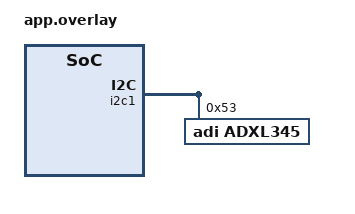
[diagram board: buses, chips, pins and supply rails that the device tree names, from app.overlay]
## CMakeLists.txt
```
# SPDX-License-Identifier: Apache-2.0

cmake_minimum_required(VERSION 3.20.0)

find_package(Zephyr REQUIRED HINTS $ENV{ZEPHYR_BASE})
project(kim_test2)
FILE(GLOB app_sources src/*.c)
target_include_directories(app PRIVATE
    ${ZEPHYR_BASE}/../modules/hal/stm32/cmsis
    ${ZEPHYR_BASE}/../modules/hal/stm32/cmsis/include
)
target_sources(app PRIVATE src/main.c)
```

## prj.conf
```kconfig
# nothing here

# 필요한 드라이버 활성화
CONFIG_STDOUT_CONSOLE=y
CONFIG_SENSOR=y
CONFIG_ADXL345=y
```

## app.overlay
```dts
&i2c1 {
    adxl345: adxl345@53 {
        compatible = "adi,adxl345";
        reg = <0x53>;
        status = "okay";
    };
};
```

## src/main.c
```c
#include <stdio.h>
#include <stdlib.h>

#include <zephyr/types.h>
#include <zephyr/kernel.h>
#include <zephyr/drivers/gpio.h>
#include <zephyr/logging/log.h>
#include <zephyr/drivers/sensor.h>

static const struct device *adxl345 = DEVICE_DT_GET(DT_NODELABEL(adxl345));

int main(void)
{
	static struct sensor_value accel_x, accel_y, accel_z;

	if (!device_is_ready(adxl345)) {
		printk("The ADXL345 sensor is not ready.");
		return 0;
	}
	printk("OK, sensor device is ready.\n");

	while (1) {
		sensor_sample_fetch_chan(adxl345, SENSOR_CHAN_ACCEL_XYZ);
		sensor_channel_get(adxl345, SENSOR_CHAN_ACCEL_X, &accel_x);
		sensor_channel_get(adxl345, SENSOR_CHAN_ACCEL_Y, &accel_y);
		sensor_channel_get(adxl345, SENSOR_CHAN_ACCEL_Z, &accel_z);

		printk("[val1] x: %d, y: %d, z: %d\n", accel_x.val1, accel_y.val1, accel_z.val1);
		printk("[val2] x: %d, y: %d, z: %d\n", accel_x.val2, accel_y.val2, accel_z.val2);

		k_msleep(2000);
	}
	return 0;
}
```
